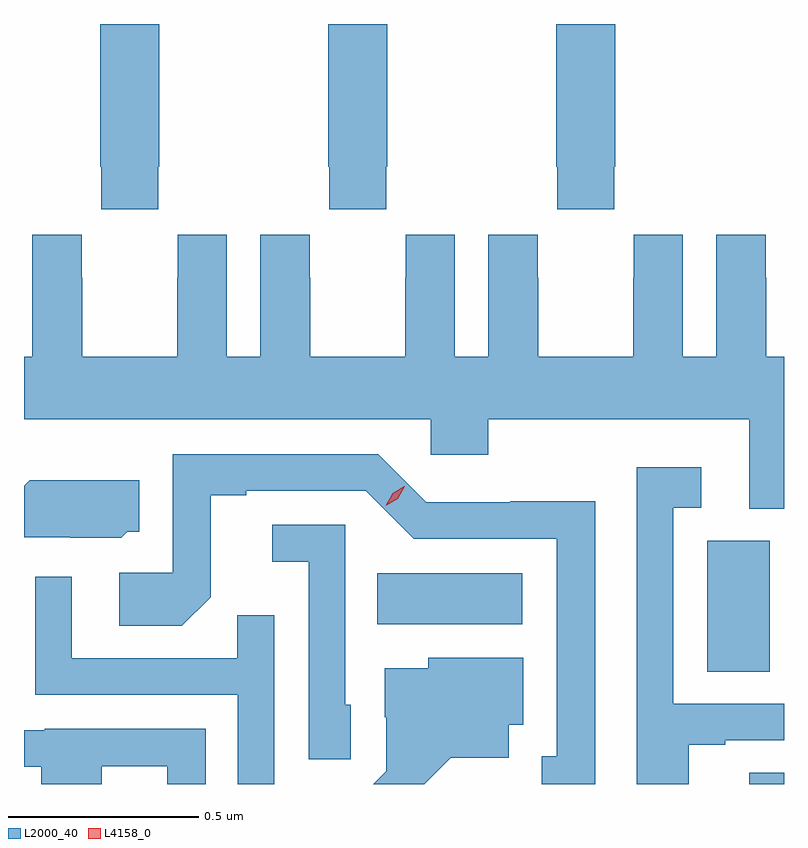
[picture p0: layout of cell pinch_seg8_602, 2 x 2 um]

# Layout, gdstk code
import gdstk
lib = gdstk.Library(unit=1e-6, precision=1e-09)
def R(c, l, rs):  # rectangles x0, y0, x1, y1
    for r in rs: c.add(gdstk.rectangle(r[:2], r[2:], *l))
def P(c, l, *ps):  # polygons
    for p in ps: c.add(gdstk.Polygon(p, *l))
L2000_40 = (2000, 40)
L4158_0 = (4158, 0)

pinch_seg8_602 = lib.new_cell('pinch_seg8_602')
R(pinch_seg8_602, L2000_40, [(135.683,1087.568,135.774,1087.598), (135.572,1087.864,135.736,1088.208), (134.704,1087.988,135.085,1088.122)])
P(pinch_seg8_602, L2000_40, [(134.127,1089.193),(134.13,1089.193),(134.13,1089.568),(133.975,1089.568),(133.975,1089.193),(133.977,1089.193),(133.977,1089.081),(134.127,1089.081)],
  [(134.727,1089.193),(134.73,1089.193),(134.73,1089.568),(134.575,1089.568),(134.575,1089.193),(134.577,1089.193),(134.577,1089.081),(134.727,1089.081)],
  [(135.327,1089.193),(135.33,1089.193),(135.33,1089.568),(135.175,1089.568),(135.175,1089.193),(135.177,1089.193),(135.177,1089.081),(135.327,1089.081)],
  [(135.774,1088.692),(135.727,1088.692),(135.727,1088.9),(135.726,1088.9),(135.726,1089.013),(135.596,1089.013),(135.596,1088.692),(135.508,1088.692),(135.508,1089.013),(135.378,1089.013),(135.378,1088.9),(135.377,1088.9),(135.377,1088.692),(135.127,1088.692),(135.127,1088.9),(135.126,1088.9),(135.126,1089.013),(134.996,1089.013),(134.996,1088.692),(134.908,1088.692),(134.908,1089.013),(134.778,1089.013),(134.778,1088.9),(134.777,1088.9),(134.777,1088.692),(134.527,1088.692),(134.527,1088.9),(134.526,1088.9),(134.526,1089.013),(134.396,1089.013),(134.396,1088.692),(134.308,1088.692),(134.308,1089.013),(134.178,1089.013),(134.178,1088.9),(134.177,1088.9),(134.177,1088.692),(133.927,1088.692),(133.927,1088.9),(133.926,1088.9),(133.926,1089.013),(133.796,1089.013),(133.796,1088.692),(133.774,1088.692),(133.774,1088.528),(134.844,1088.528),(134.844,1088.435),(134.996,1088.435),(134.996,1088.528),(135.683,1088.528),(135.683,1088.293),(135.774,1088.293)],
  [(135.277,1088.312),(135.054,1088.312),(135.054,1088.31),(134.832,1088.31),(134.706,1088.436),(134.166,1088.436),(134.166,1088.124),(134.025,1088.124),(134.025,1087.984),(134.189,1087.984),(134.265,1088.06),(134.265,1088.328),(134.359,1088.328),(134.359,1088.34),(134.673,1088.34),(134.799,1088.214),(135.176,1088.214),(135.176,1087.641),(135.137,1087.641),(135.137,1087.568),(135.277,1087.568)],
  [(135.523,1087.671),(135.619,1087.671),(135.619,1087.683),(135.774,1087.683),(135.774,1087.779),(135.483,1087.779),(135.483,1088.295),(135.556,1088.295),(135.556,1088.401),(135.387,1088.401),(135.387,1087.568),(135.523,1087.568)],
  [(134.046,1088.232),(134.077,1088.232),(134.077,1088.368),(133.789,1088.368),(133.774,1088.353),(133.774,1088.217),(133.896,1088.217),(133.896,1088.216),(134.03,1088.216)],
  [(134.634,1087.776),(134.619,1087.776),(134.619,1088.25),(134.427,1088.25),(134.427,1088.153),(134.523,1088.153),(134.523,1087.633),(134.634,1087.633)],
  [(134.433,1088.012),(134.335,1088.012),(134.335,1087.899),(133.899,1087.899),(133.899,1088.113),(133.803,1088.113),(133.803,1087.803),(134.337,1087.803),(134.337,1087.568),(134.433,1087.568)],
  [(134.897,1087.637),(135.049,1087.637),(135.049,1087.724),(135.088,1087.724),(135.088,1087.9),(134.838,1087.9),(134.838,1087.873),(134.723,1087.873),(134.723,1087.744),(134.727,1087.744),(134.727,1087.602),(134.693,1087.568),(134.827,1087.568)],
  [(133.978,1087.615),(134.151,1087.615),(134.151,1087.568),(134.252,1087.568),(134.252,1087.713),(133.828,1087.713),(133.828,1087.71),(133.774,1087.71),(133.774,1087.613),(133.82,1087.613),(133.82,1087.568),(133.978,1087.568)])
P(pinch_seg8_602, L4158_0, [(134.726,1088.3),(134.726,1088.3),(134.744,1088.333),(134.775,1088.352),(134.776,1088.352),(134.776,1088.351),(134.758,1088.319),(134.726,1088.3)])

lib.write_gds('pinch_seg8_602.gds')
